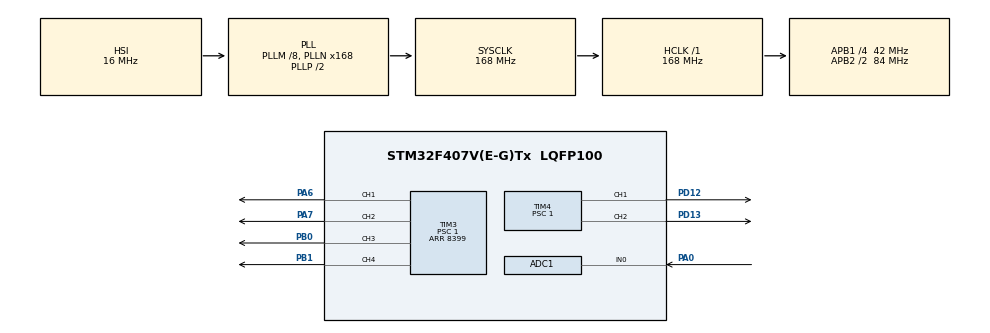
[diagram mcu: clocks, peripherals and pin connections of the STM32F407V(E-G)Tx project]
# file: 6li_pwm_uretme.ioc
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ADC1.Channel-0\#ChannelRegularConversion=ADC_CHANNEL_0
ADC1.ClockPrescaler=ADC_CLOCK_SYNC_PCLK_DIV8
ADC1.ContinuousConvMode=ENABLE
ADC1.NbrOfConversionFlag=1
ADC1.Rank-0\#ChannelRegularConversion=1
ADC1.Resolution=ADC_RESOLUTION_8B
ADC1.SamplingTime-0\#ChannelRegularConversion=ADC_SAMPLETIME_56CYCLES
ADC1.master=1
Mcu.Family=STM32F4
Mcu.Name=STM32F407V(E-G)Tx
Mcu.Package=LQFP100
NVIC.PriorityGroup=NVIC_PRIORITYGROUP_4
NVIC.TIM3_IRQn=true\:0\:0\:false\:false\:true\:true\:true
NVIC.TIM4_IRQn=true\:0\:0\:false\:false\:true\:true\:true
PA0-WKUP.Signal=ADCx_IN0
PA6.Signal=S_TIM3_CH1
PA7.Signal=S_TIM3_CH2
PB0.Signal=S_TIM3_CH3
PB1.Signal=S_TIM3_CH4
PD12.Signal=S_TIM4_CH1
PD13.Signal=S_TIM4_CH2
PH0-OSC_IN.Mode=HSE-External-Oscillator
PH0-OSC_IN.Signal=RCC_OSC_IN
PH1-OSC_OUT.Mode=HSE-External-Oscillator
PH1-OSC_OUT.Signal=RCC_OSC_OUT
ProjectManager.HeapSize=0x200
ProjectManager.StackSize=0x400
ProjectManager.TargetToolchain=TrueSTUDIO
RCC.48MHZClocksFreq_Value=84000000
RCC.AHBFreq_Value=168000000
RCC.APB1CLKDivider=RCC_HCLK_DIV4
RCC.APB1Freq_Value=42000000
RCC.APB1TimFreq_Value=84000000
RCC.APB2CLKDivider=RCC_HCLK_DIV2
RCC.APB2Freq_Value=84000000
RCC.APB2TimFreq_Value=168000000
RCC.CortexFreq_Value=168000000
RCC.HCLKFreq_Value=168000000
RCC.HSE_VALUE=8000000
RCC.HSI_VALUE=16000000
RCC.LSE_VALUE=32768
RCC.PLLM=8
RCC.PLLN=168
RCC.SYSCLKFreq_VALUE=168000000
RCC.SYSCLKSource=RCC_SYSCLKSOURCE_PLLCLK
RCC.VCOOutputFreq_Value=336000000
SH.ADCx_IN0.0=ADC1_IN0,IN0
SH.S_TIM3_CH1.0=TIM3_CH1,PWM Generation1 CH1
SH.S_TIM3_CH2.0=TIM3_CH2,PWM Generation2 CH2
SH.S_TIM3_CH3.0=TIM3_CH3,PWM Generation3 CH3
SH.S_TIM3_CH4.0=TIM3_CH4,PWM Generation4 CH4
SH.S_TIM4_CH1.0=TIM4_CH1,PWM Generation1 CH1
SH.S_TIM4_CH2.0=TIM4_CH2,PWM Generation2 CH2
TIM3.Channel-PWM\ Generation1\ CH1=TIM_CHANNEL_1
TIM3.Channel-PWM\ Generation2\ CH2=TIM_CHANNEL_2
TIM3.Channel-PWM\ Generation3\ CH3=TIM_CHANNEL_3
TIM3.Channel-PWM\ Generation4\ CH4=TIM_CHANNEL_4
TIM3.Period=8399
TIM3.Prescaler=1
TIM4.Channel-PWM\ Generation1\ CH1=TIM_CHANNEL_1
TIM4.Channel-PWM\ Generation2\ CH2=TIM_CHANNEL_2
TIM4.Period=8399
TIM4.Prescaler=1
VP_TIM3_VS_ClockSourceINT.Mode=Internal
VP_TIM4_VS_ClockSourceINT.Mode=Internal
board=custom

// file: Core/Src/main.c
/* USER CODE BEGIN Header */
/**
  ******************************************************************************
  * @file           : main.c
  * @brief          : Main program body
  ******************************************************************************
  * @attention
  *
  * <h2><center>&copy; Copyright (c) 2021 STMicroelectronics.
  * All rights reserved.</center></h2>
  *
  * This software component is licensed by ST under BSD 3-Clause license,
  * the "License"; You may not use this file except in compliance with the
  * License. You may obtain a copy of the License at:
  *                        opensource.org/licenses/BSD-3-Clause
  *
  ******************************************************************************
  */
/* USER CODE END Header */
#include "main.h"
#include "math.h"

ADC_HandleTypeDef hadc1;

TIM_HandleTypeDef htim3;
TIM_HandleTypeDef htim4;

/* USER CODE BEGIN PV */
uint16_t  pot;
/* USER CODE END PV */

void SystemClock_Config(void);
static void MX_GPIO_Init(void);
static void MX_ADC1_Init(void);
static void MX_TIM3_Init(void);
static void MX_TIM4_Init(void);

/* USER CODE BEGIN 0 */
void Read_ADC()
{
	HAL_ADC_Start(&hadc1);
	if(HAL_ADC_PollForConversion(&hadc1, 100000)==HAL_OK)
	{
		pot=HAL_ADC_GetValue(&hadc1)*0.0985;
	}

	HAL_ADC_Stop(&hadc1);

}
/* USER CODE END 0 */

int main(void)
{
	//Read_ADC();
  /* MCU Configuration--------------------------------------------------------*/

  /* Reset of all peripherals, Initializes the Flash interface and the Systick. */
  HAL_Init();

  /* Configure the system clock */
  SystemClock_Config();

  /* Initialize all configured peripherals */
  MX_GPIO_Init();
  MX_ADC1_Init();
  MX_TIM3_Init();
  MX_TIM4_Init();
  /* USER CODE BEGIN 2 */
  HAL_TIM_PWM_Start(&htim3,TIM_CHANNEL_1);
  __HAL_TIM_SetCompare(&htim3,TIM_CHANNEL_1,pot);

  HAL_TIM_PWM_Start(&htim3,TIM_CHANNEL_2);
  __HAL_TIM_SetCompare(&htim3,TIM_CHANNEL_2,pot);

  HAL_TIM_PWM_Start(&htim3,TIM_CHANNEL_3);
  __HAL_TIM_SetCompare(&htim3,TIM_CHANNEL_3,pot);

  HAL_TIM_PWM_Start(&htim3,TIM_CHANNEL_4);
  __HAL_TIM_SetCompare(&htim3,TIM_CHANNEL_4,pot);

  HAL_TIM_PWM_Start(&htim4,TIM_CHANNEL_1);
  __HAL_TIM_SetCompare(&htim3,TIM_CHANNEL_1,pot);

  HAL_TIM_PWM_Start(&htim4,TIM_CHANNEL_2);
  __HAL_TIM_SetCompare(&htim3,TIM_CHANNEL_2,pot);
  /* USER CODE END 2 */

  /* Infinite loop */
  while (1)
  {
	        Read_ADC();

	      /* USER CODE END WHILE */
	     //6 adet pwm üretme
	  	__HAL_TIM_SetCompare(&htim3,TIM_CHANNEL_1,4999);
	  	 HAL_Delay(100);

	  	__HAL_TIM_SetCompare(&htim3,TIM_CHANNEL_2,4200);
	  	 HAL_Delay(100);

	  	__HAL_TIM_SetCompare(&htim3,TIM_CHANNEL_3,3000);
	  	 HAL_Delay(100);

	    __HAL_TIM_SetCompare(&htim3,TIM_CHANNEL_4,2000);
	     HAL_Delay(100);
	 	__HAL_TIM_SetCompare(&htim4,TIM_CHANNEL_1,3900);
	   	 HAL_Delay(100);

 		__HAL_TIM_SetCompare(&htim4,TIM_CHANNEL_2,42199);
	  	 HAL_Delay(100);
  }
}

void SystemClock_Config(void)
{
  RCC_OscInitTypeDef RCC_OscInitStruct = {0};
  RCC_ClkInitTypeDef RCC_ClkInitStruct = {0};

  /** Configure the main internal regulator output voltage
  */
  __HAL_RCC_PWR_CLK_ENABLE();
  __HAL_PWR_VOLTAGESCALING_CONFIG(PWR_REGULATOR_VOLTAGE_SCALE1);
  /** Initializes the RCC Oscillators according to the specified parameters
  * in the RCC_OscInitTypeDef structure.
  */
  RCC_OscInitStruct.OscillatorType = RCC_OSCILLATORTYPE_HSI;
  RCC_OscInitStruct.HSIState = RCC_HSI_ON;
  RCC_OscInitStruct.HSICalibrationValue = RCC_HSICALIBRATION_DEFAULT;
  RCC_OscInitStruct.PLL.PLLState = RCC_PLL_ON;
  RCC_OscInitStruct.PLL.PLLSource = RCC_PLLSOURCE_HSI;
  RCC_OscInitStruct.PLL.PLLM = 8;
  RCC_OscInitStruct.PLL.PLLN = 168;
  RCC_OscInitStruct.PLL.PLLP = RCC_PLLP_DIV2;
  RCC_OscInitStruct.PLL.PLLQ = 4;
  if (HAL_RCC_OscConfig(&RCC_OscInitStruct) != HAL_OK)
  {
    Error_Handler();
  }
  /** Initializes the CPU, AHB and APB buses clocks
  */
  RCC_ClkInitStruct.ClockType = RCC_CLOCKTYPE_HCLK|RCC_CLOCKTYPE_SYSCLK
                              |RCC_CLOCKTYPE_PCLK1|RCC_CLOCKTYPE_PCLK2;
  RCC_ClkInitStruct.SYSCLKSource = RCC_SYSCLKSOURCE_PLLCLK;
  RCC_ClkInitStruct.AHBCLKDivider = RCC_SYSCLK_DIV1;
  RCC_ClkInitStruct.APB1CLKDivider = RCC_HCLK_DIV4;
  RCC_ClkInitStruct.APB2CLKDivider = RCC_HCLK_DIV2;

  if (HAL_RCC_ClockConfig(&RCC_ClkInitStruct, FLASH_LATENCY_5) != HAL_OK)
  {
    Error_Handler();
  }
}

static void MX_ADC1_Init(void)
{

  ADC_ChannelConfTypeDef sConfig = {0};

  /** Configure the global features of the ADC (Clock, Resolution, Data Alignment and number of conversion)
  */
  hadc1.Instance = ADC1;
  hadc1.Init.ClockPrescaler = ADC_CLOCK_SYNC_PCLK_DIV8;
  hadc1.Init.Resolution = ADC_RESOLUTION_8B;
  hadc1.Init.ScanConvMode = DISABLE;
  hadc1.Init.ContinuousConvMode = ENABLE;
  hadc1.Init.DiscontinuousConvMode = DISABLE;
  hadc1.Init.ExternalTrigConvEdge = ADC_EXTERNALTRIGCONVEDGE_NONE;
  hadc1.Init.ExternalTrigConv = ADC_SOFTWARE_START;
  hadc1.Init.DataAlign = ADC_DATAALIGN_RIGHT;
  hadc1.Init.NbrOfConversion = 1;
  hadc1.Init.DMAContinuousRequests = DISABLE;
  hadc1.Init.EOCSelection = ADC_EOC_SINGLE_CONV;
  if (HAL_ADC_Init(&hadc1) != HAL_OK)
  {
    Error_Handler();
  }
  /** Configure for the selected ADC regular channel its corresponding rank in the sequencer and its sample time.
  */
  sConfig.Channel = ADC_CHANNEL_0;
  sConfig.Rank = 1;
  sConfig.SamplingTime = ADC_SAMPLETIME_56CYCLES;
  if (HAL_ADC_ConfigChannel(&hadc1, &sConfig) != HAL_OK)
  {
    Error_Handler();
  }

}

static void MX_TIM3_Init(void)
{

  TIM_ClockConfigTypeDef sClockSourceConfig = {0};
  TIM_MasterConfigTypeDef sMasterConfig = {0};
  TIM_OC_InitTypeDef sConfigOC = {0};

  htim3.Instance = TIM3;
  htim3.Init.Prescaler = 1;
  htim3.Init.CounterMode = TIM_COUNTERMODE_UP;
  htim3.Init.Period = 8399;
  htim3.Init.ClockDivision = TIM_CLOCKDIVISION_DIV1;
  htim3.Init.AutoReloadPreload = TIM_AUTORELOAD_PRELOAD_DISABLE;
  if (HAL_TIM_Base_Init(&htim3) != HAL_OK)
  {
    Error_Handler();
  }
  sClockSourceConfig.ClockSource = TIM_CLOCKSOURCE_INTERNAL;
  if (HAL_TIM_ConfigClockSource(&htim3, &sClockSourceConfig) != HAL_OK)
  {
    Error_Handler();
  }
  if (HAL_TIM_PWM_Init(&htim3) != HAL_OK)
  {
    Error_Handler();
  }
  sMasterConfig.MasterOutputTrigger = TIM_TRGO_RESET;
  sMasterConfig.MasterSlaveMode = TIM_MASTERSLAVEMODE_DISABLE;
  if (HAL_TIMEx_MasterConfigSynchronization(&htim3, &sMasterConfig) != HAL_OK)
  {
    Error_Handler();
  }
  sConfigOC.OCMode = TIM_OCMODE_PWM1;
  sConfigOC.Pulse = 0;
  sConfigOC.OCPolarity = TIM_OCPOLARITY_HIGH;
  sConfigOC.OCFastMode = TIM_OCFAST_DISABLE;
  if (HAL_TIM_PWM_ConfigChannel(&htim3, &sConfigOC, TIM_CHANNEL_1) != HAL_OK)
  {
    Error_Handler();
  }
  if (HAL_TIM_PWM_ConfigChannel(&htim3, &sConfigOC, TIM_CHANNEL_2) != HAL_OK)
  {
    Error_Handler();
  }
  if (HAL_TIM_PWM_ConfigChannel(&htim3, &sConfigOC, TIM_CHANNEL_3) != HAL_OK)
  {
    Error_Handler();
  }
  if (HAL_TIM_PWM_ConfigChannel(&htim3, &sConfigOC, TIM_CHANNEL_4) != HAL_OK)
  {
    Error_Handler();
  }
  HAL_TIM_MspPostInit(&htim3);

}

static void MX_TIM4_Init(void)
{

  TIM_ClockConfigTypeDef sClockSourceConfig = {0};
  TIM_MasterConfigTypeDef sMasterConfig = {0};
  TIM_OC_InitTypeDef sConfigOC = {0};

  htim4.Instance = TIM4;
  htim4.Init.Prescaler = 16;
  htim4.Init.CounterMode = TIM_COUNTERMODE_UP;
  htim4.Init.Period = 9500;
  htim4.Init.ClockDivision = TIM_CLOCKDIVISION_DIV1;
  htim4.Init.AutoReloadPreload = TIM_AUTORELOAD_PRELOAD_DISABLE;
  if (HAL_TIM_Base_Init(&htim4) != HAL_OK)
  {
    Error_Handler();
  }
  sClockSourceConfig.ClockSource = TIM_CLOCKSOURCE_INTERNAL;
  if (HAL_TIM_ConfigClockSource(&htim4, &sClockSourceConfig) != HAL_OK)
  {
    Error_Handler();
  }
  if (HAL_TIM_PWM_Init(&htim4) != HAL_OK)
  {
    Error_Handler();
  }
  sMasterConfig.MasterOutputTrigger = TIM_TRGO_RESET;
  sMasterConfig.MasterSlaveMode = TIM_MASTERSLAVEMODE_DISABLE;
  if (HAL_TIMEx_MasterConfigSynchronization(&htim4, &sMasterConfig) != HAL_OK)
  {
    Error_Handler();
  }
  sConfigOC.OCMode = TIM_OCMODE_PWM1;
  sConfigOC.Pulse = 0;
  sConfigOC.OCPolarity = TIM_OCPOLARITY_HIGH;
  sConfigOC.OCFastMode = TIM_OCFAST_DISABLE;
  if (HAL_TIM_PWM_ConfigChannel(&htim4, &sConfigOC, TIM_CHANNEL_1) != HAL_OK)
  {
    Error_Handler();
  }
  if (HAL_TIM_PWM_ConfigChannel(&htim4, &sConfigOC, TIM_CHANNEL_2) != HAL_OK)
  {
    Error_Handler();
  }
  HAL_TIM_MspPostInit(&htim4);

}

static void MX_GPIO_Init(void)
{

  /* GPIO Ports Clock Enable */
  __HAL_RCC_GPIOH_CLK_ENABLE();
  __HAL_RCC_GPIOA_CLK_ENABLE();
  __HAL_RCC_GPIOB_CLK_ENABLE();
  __HAL_RCC_GPIOD_CLK_ENABLE();

}

void Error_Handler(void)
{
  __disable_irq();
  while (1)
  {
  }
}

/************************ (C) COPYRIGHT STMicroelectronics *****END OF FILE****/
